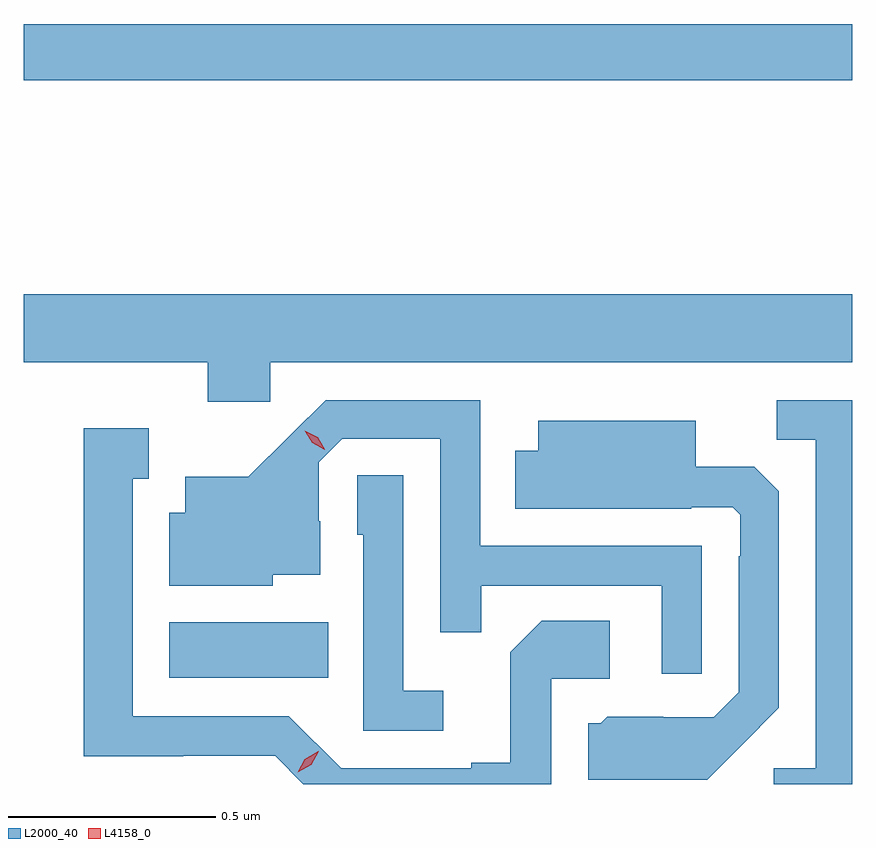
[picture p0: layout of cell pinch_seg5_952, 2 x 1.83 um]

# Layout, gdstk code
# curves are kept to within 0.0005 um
import gdstk
lib = gdstk.Library(unit=1e-6, precision=1e-09)
def R(c, l, rs):  # rectangles x0, y0, x1, y1
    for r in rs: c.add(gdstk.rectangle(r[:2], r[2:], *l))
def P(c, l, *ps):  # polygons
    for p in ps: c.add(gdstk.Polygon(p, *l))
L2000_40 = (2000, 40)
L4158_0 = (4158, 0)

pinch_seg5_952 = lib.new_cell('pinch_seg5_952')
R(pinch_seg5_952, L2000_40, [(684.38,897.29,684.764,897.424), (684.029,898.732,686.029,898.868)])
P(pinch_seg5_952, L2000_40, [(684.624,898.052),(686.029,898.052),(686.029,898.216),(684.029,898.216),(684.029,898.052),(684.473,898.052),(684.473,897.957),(684.624,897.957)],
  [(685.665,897.609),(685.131,897.609),(685.131,897.96),(684.758,897.96),(684.571,897.775),(684.419,897.775),(684.419,897.688),(684.38,897.688),(684.38,897.512),(684.63,897.512),(684.63,897.539),(684.745,897.539),(684.745,897.668),(684.741,897.668),(684.741,897.81),(684.798,897.867),(685.035,897.867),(685.035,897.4),(685.133,897.4),(685.133,897.513),(685.569,897.513),(685.569,897.3),(685.665,897.3)],
  [(686.029,897.96),(685.846,897.96),(685.846,897.865),(685.941,897.865),(685.941,897.072),(685.839,897.072),(685.839,897.034),(686.029,897.034)],
  [(685.759,897.125),(685.851,897.218),(685.851,897.74),(685.792,897.799),(685.651,897.799),(685.651,897.91),(685.271,897.91),(685.271,897.838),(685.216,897.838),(685.216,897.698),(685.64,897.698),(685.64,897.702),(685.74,897.702),(685.758,897.684),(685.758,897.584),(685.755,897.584),(685.755,897.255),(685.695,897.195),(685.572,897.195),(685.572,897.196),(685.438,897.196),(685.422,897.18),(685.391,897.18),(685.391,897.044),(685.679,897.044)],
  [(685.302,897.288),(685.444,897.288),(685.444,897.428),(685.279,897.428),(685.203,897.352),(685.203,897.085),(685.109,897.085),(685.109,897.072),(684.795,897.072),(684.669,897.198),(684.292,897.198),(684.292,897.771),(684.331,897.771),(684.331,897.892),(684.174,897.892),(684.174,897.101),(684.414,897.101),(684.414,897.102),(684.636,897.102),(684.704,897.034),(685.302,897.034)],
  [(685.042,897.259),(684.945,897.259),(684.945,897.779),(684.834,897.779),(684.834,897.636),(684.849,897.636),(684.849,897.162),(685.042,897.162)])
P(pinch_seg5_952, L4158_0, [(684.756,897.841),(684.725,897.857),(684.708,897.886),(684.708,897.886),(684.708,897.886),(684.739,897.871),(684.756,897.842),(684.756,897.841)],
  [(684.691,897.062),(684.691,897.062),(684.708,897.094),(684.74,897.113),(684.741,897.113),(684.741,897.113),(684.723,897.08),(684.691,897.062)])

lib.write_gds('pinch_seg5_952.gds')
